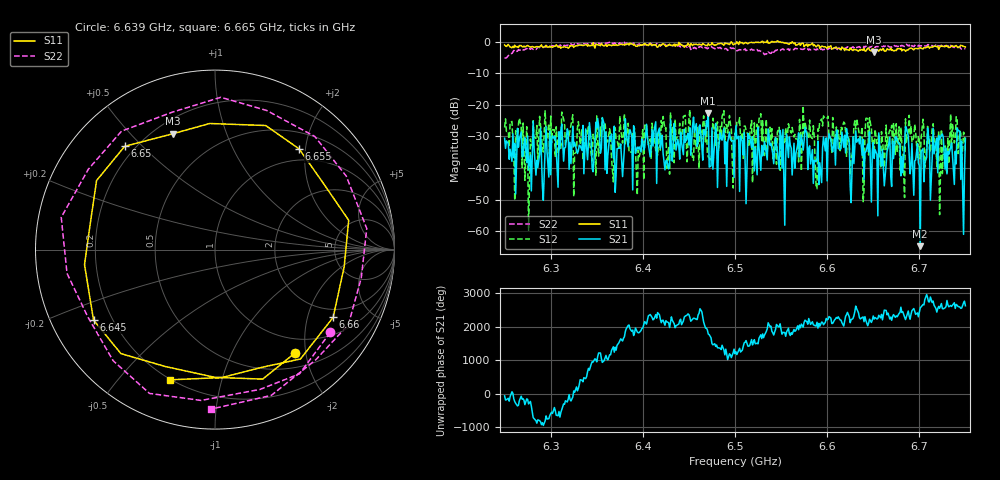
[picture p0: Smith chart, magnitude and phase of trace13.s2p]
# Hz S RI R 50
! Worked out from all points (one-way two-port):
!   401 points, 6.25 GHz to 6.75 GHz, reference 50 ohm
!   highest |S21| = -22.58 dB at 6.471 GHz (marker M1); lowest = -64.7 dB at 6.701 GHz (marker M2)
!   lowest |S11| = -3.3 dB at 6.651 GHz (marker M3), VSWR 5.39, Z = 13.6 + j33.2 ohm
!   |S11| at or under -10 dB: nowhere
!   |S22| runs from -5.3 to -0.1 dB; largest |S21 - S12| = 0.13
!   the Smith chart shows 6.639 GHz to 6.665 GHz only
!   S11 on the Smith chart (normalised r, x): 6.639 GHz: 0.74, -1.81; 6.645 GHz: 0.13, -0.26; 6.65 GHz: 0.16, +0.44; 6.655 GHz: 0.78, +1.88; 6.66 GHz: 1.64, -2.91; 6.665 GHz: 0.20, -0.69
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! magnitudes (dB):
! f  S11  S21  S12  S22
! 6.25 GHz  -1.1  -30.6  -27.2  -5.3
! 6.274 GHz  -1.4  -38.3  -26.9  -2.2
! 6.282 GHz  -1.8  -33.7  -30.3  -2.3
! 6.334 GHz  -1.2  -34.4  -27.5  -0.9
! 6.418 GHz  -1.1  -27.4  -27.5  -1.0
! 6.471 GHz  -0.6  -22.6  -36.5  -2.0
! 6.5 GHz  -0.7  -30.4  -29.0  -2.5
! 6.584 GHz  -0.5  -34.2  -30.7  -2.5
! 6.624 GHz  -2.8  -32.1  -31.3  -2.0
! 6.631 GHz  -2.6  -28.2  -27.6  -1.9
! 6.639 GHz  -2.8  -31.0  -50.6  -2.0
! 6.645 GHz  -2.1  -34.9  -35.9  -1.5
! 6.65 GHz  -2.3  -32.0  -31.2  -1.6
! 6.651 GHz  -3.3  -37.0  -36.3  -1.5
! 6.655 GHz  -2.7  -55.1  -31.5  -1.7
! 6.66 GHz  -2.4  -34.1  -31.4  -1.6
! 6.665 GHz  -2.3  -34.7  -34.1  -1.0
! 6.668 GHz  -2.6  -30.3  -27.9  -1.8
! 6.686 GHz  -2.7  -27.4  -31.9  -0.9
! 6.701 GHz  -1.9  -64.7  -37.1  -1.3
! 6.724 GHz  -1.3  -29.6  -27.8  -1.2
! 6.75 GHz  -1.7  -30.6  -35.1  -2.2
